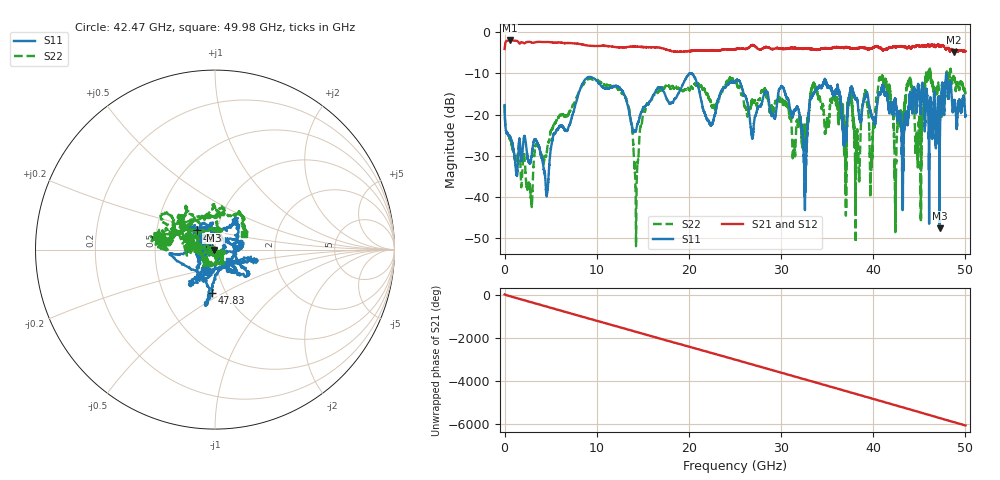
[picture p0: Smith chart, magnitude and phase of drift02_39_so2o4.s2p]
!Created with skrf (http://scikit-rf.org).
# Hz S RI R 50.0
!freq ReS11 ImS11 ReS21 ImS21 ReS12 ImS12 ReS22 ImS22
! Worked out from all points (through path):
!   10001 points, 300 kHz to 50 GHz, reference 50 ohm
!   highest |S21| = -1.99 dB at 540.3 MHz (marker M1); lowest = -4.9 dB at 48.76 GHz (marker M2)
!   group delay of S21, straight-line fit = 337 ps
!   lowest |S11| = -47.6 dB at 47.2 GHz (marker M3), VSWR 1.01, Z = 49.6 - j0.149 ohm
!   |S11| at or under -10 dB: start of sweep to 20.06 GHz; 20.24 GHz to 47.91 GHz (27.67 GHz wide, 81.2 % of centre); 47.93 GHz to end of sweep (the widest 3 of 9)
!   |S22| runs from -52.0 to -8.8 dB; largest |S21 - S12| = 0.03
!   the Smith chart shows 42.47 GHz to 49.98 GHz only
!   S11 on the Smith chart (normalised r, x): 42.47 GHz: 0.89, -0.22; 43.9 GHz: 0.80, +0.18; 47.83 GHz: 0.87, -0.44; 49.98 GHz: 1.15, -0.15
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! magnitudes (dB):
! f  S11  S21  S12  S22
! 300 kHz  -17.7  -4.0  -4.0  -17.6
! 540.3 MHz  -25.2  -2.0  -2.0  -25.8
! 4.565 GHz  -39.9  -2.4  -2.4  -29.3
! 8.335 GHz  -13.0  -2.9  -2.9  -13.2
! 13.01 GHz  -15.3  -3.6  -3.6  -15.6
! 14.28 GHz  -23.8  -3.5  -3.5  -48.3
! 16.67 GHz  -13.4  -3.7  -3.7  -14.5
! 25 GHz  -12.1  -4.1  -4.1  -12.1
! 30.18 GHz  -13.3  -4.1  -4.1  -16.6
! 32.56 GHz  -39.4  -3.9  -3.9  -24.1
! 33.34 GHz  -15.7  -4.0  -4.1  -13.6
! 38.29 GHz  -16.8  -4.0  -3.9  -24.3
! 41.67 GHz  -18.4  -3.8  -3.9  -12.7
! 42.47 GHz  -17.9  -3.6  -3.6  -35.2
! 43.9 GHz  -16.7  -3.5  -3.6  -12.3
! 44.99 GHz  -14.6  -3.4  -3.3  -21.1
! 45.91 GHz  -17.8  -3.2  -3.1  -11.6
! 47.2 GHz  -47.6  -3.5  -3.4  -16.7
! 47.83 GHz  -12.4  -3.9  -4.0  -14.5
! 48.76 GHz  -16.9  -4.9  -4.8  -10.7
! 49.98 GHz  -20.0  -4.6  -4.5  -14.7
! 50 GHz  -20.5  -4.6  -4.6  -15.2
